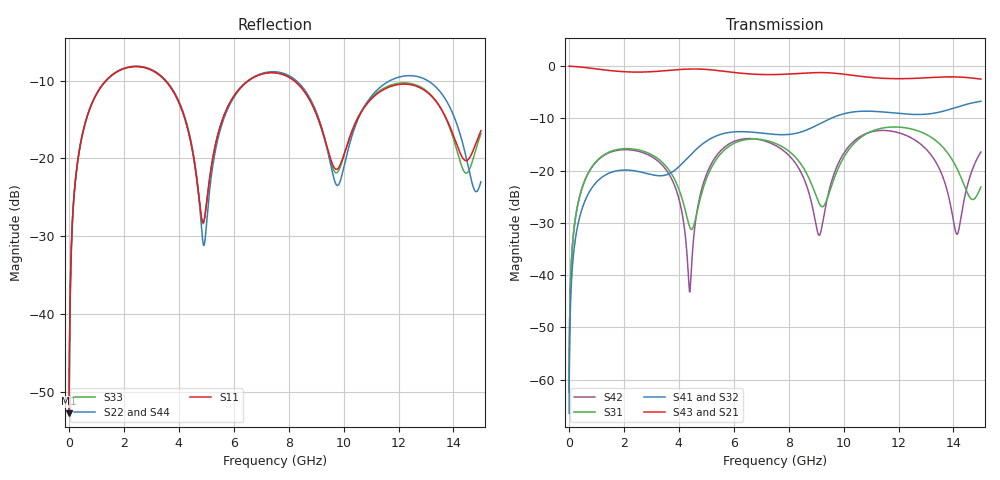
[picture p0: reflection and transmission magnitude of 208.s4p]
! Created with skrf 1.8.0 (http://scikit-rf.org).
# GHz S RI R 50.0
!freq ReS11 ImS11 ReS12 ImS12 ReS13 ImS13
! ReS14 ImS14
! ReS21 ImS21 ReS22 ImS22 ReS23 ImS23
! ReS24 ImS24
! ReS31 ImS31 ReS32 ImS32 ReS33 ImS33
! ReS34 ImS34
! ReS41 ImS41 ReS42 ImS42 ReS43 ImS43
! ReS44 ImS44
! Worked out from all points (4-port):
!   2499 points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, 5 MHz to 15 GHz, reference 50 ohm
!   strongest paths, dB at 5 MHz, 3.476 GHz, 7.19 GHz, 11.1 GHz, 15 GHz:
!     S43: 0.0, -0.9, -1.6, -2.2, -2.5
!     S21: 0.0, -0.9, -1.6, -2.2, -2.5
!     S41: -66.4, -20.9, -12.9, -8.7, -6.7
!     S32: -66.4, -21.0, -13.0, -8.7, -6.7
!     S31: -62.4, -18.8, -14.2, -12.3, -23.1
!     S42: -62.4, -19.4, -14.4, -12.5, -16.4
!   lowest |S11| = -52.8 dB at 5 MHz (marker M1), VSWR 1.00, Z = 50.2 + j0.139 ohm
!   |S11| at or under -10 dB: start of sweep to 1.346 GHz; 3.515 GHz to 6.534 GHz (3.019 GHz wide, 60.1 % of centre); 8.201 GHz to end of sweep
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0.005  0.00183 0.00139  0.9981 -0.00356  9.36e-05 0.000754  -9.07e-05 -0.000469
       0.9981 -0.00356  0.00183 0.00139  -9.07e-05 -0.000469  9.35e-05 0.000754
       9.36e-05 0.000754  -9.07e-05 -0.000469  0.00183 0.00139  0.9981 -0.00356
       -9.07e-05 -0.000469  9.35e-05 0.000754  0.9981 -0.00356  0.00183 0.00139
0.3126303  0.029 0.0903  0.9602 -0.2206  0.0142 0.044  -0.0116 -0.0269
           0.9602 -0.2206  0.0291 0.0903  -0.0115 -0.0269  0.0137 0.0442
           0.0142 0.044  -0.0115 -0.0269  0.029 0.0903  0.9602 -0.2206
           -0.0116 -0.0269  0.0137 0.0442  0.9602 -0.2206  0.0291 0.0903
1.519383  0.2955 0.1647  0.4867 -0.7624  0.1442 0.0497  -0.0959 0.00471
          0.4867 -0.7624  0.2979 0.1629  -0.0956 0.00438  0.1383 0.0592
          0.1442 0.0497  -0.0956 0.00438  0.2957 0.1646  0.4867 -0.7624
          -0.0959 0.00471  0.1383 0.0592  0.4867 -0.7624  0.2977 0.1631
4.394545  0.075 -0.1157  -0.8589 -0.3748  -0.025 -0.0148  -0.0494 0.1297
          -0.8589 -0.3748  0.0662 -0.1253  -0.0529 0.1282  0.00673 0.00155
          -0.025 -0.0148  -0.0529 0.1282  0.074 -0.1157  -0.8589 -0.3749
          -0.0494 0.1297  0.00673 0.00155  -0.8589 -0.3749  0.0668 -0.1246
7.4406  0.3556 -0.01  -0.0774 0.8256  0.1673 -0.0804  0.2155 -0.0562
        -0.0774 0.8256  0.3614 -0.0129  0.2145 -0.0468  0.1674 -0.0619
        0.1673 -0.0804  0.2145 -0.0468  0.3574 -0.0125  -0.0778 0.8256
        0.2155 -0.0562  0.1674 -0.0619  -0.0778 0.8256  0.3593 -0.0103
10.12297  0.1086 0.0544  0.8286 -0.0408  0.0498 0.1414  -0.0498 -0.3521
          0.8286 -0.0408  0.09 0.0573  -0.032 -0.3539  0.0536 0.1527
          0.0498 0.1414  -0.032 -0.3539  0.1063 0.0577  0.8288 -0.0399
          -0.0498 -0.3521  0.0536 0.1527  0.8288 -0.0399  0.092 0.0542
15  0.1278 0.0801  -0.7469 -0.0682  -0.00461 0.0695  -0.0006 0.4603
    -0.7469 -0.0682  0.0678 0.0206  -0.0394 0.459  0.0941 0.1179
    -0.00461 0.0695  -0.0394 0.459  0.1142 0.0881  -0.747 -0.0692
    -0.0006 0.4603  0.0941 0.1179  -0.747 -0.0692  0.0753 0.021
